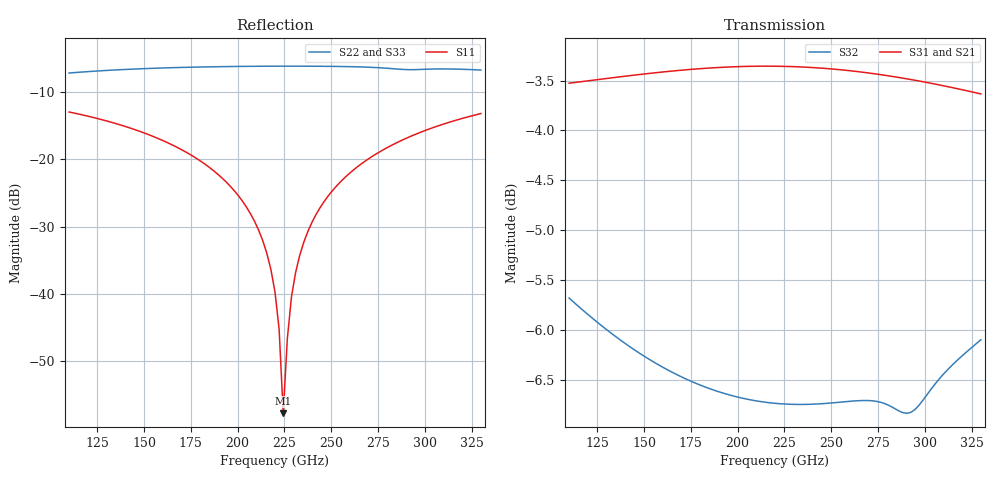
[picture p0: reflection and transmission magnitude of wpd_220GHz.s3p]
#  GHZ S DB R 50
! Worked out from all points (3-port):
!   101 points, 110 GHz to 330 GHz, reference 50 ohm
!   strongest paths, dB at 110 GHz, 165 GHz, 220 GHz, 275 GHz, 330 GHz:
!     S31: -3.5, -3.4, -3.4, -3.4, -3.6
!     S21: -3.5, -3.4, -3.4, -3.5, -3.7
!     S32: -5.7, -6.4, -6.7, -6.7, -6.1
!   lowest |S11| = -57.7 dB at 224.4 GHz (marker M1), VSWR 1.00, Z = 50.1 + j0.0355 ohm
!   |S11| at or under -10 dB: start of sweep to end of sweep
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110  -13.00 134.3  -3.53 -43.8  -3.53 -43.7
     -3.53 -43.8  -7.22 52.3  -5.68 -96.4
     -3.53 -43.7  -5.68 -96.4  -7.24 52.3
189.2  -22.18 100.9  -3.38 -76.6  -3.37 -76.6
       -3.38 -76.6  -6.29 9.3  -6.62 -155.1
       -3.37 -76.6  -6.62 -155.1  -6.32 9.4
209  -29.18 91.4  -3.37 -85.1  -3.36 -85.0
     -3.37 -85.1  -6.22 0.5  -6.71 -169.4
     -3.36 -85.0  -6.71 -169.4  -6.26 0.6
220  -39.71 81.9  -3.37 -89.7  -3.36 -89.7
     -3.37 -89.7  -6.21 -4.2  -6.74 -177.3
     -3.36 -89.7  -6.74 -177.3  -6.24 -4.2
222.2  -45.21 74.9  -3.37 -90.7  -3.36 -90.7
       -3.37 -90.7  -6.21 -5.2  -6.74 -178.9
       -3.36 -90.7  -6.74 -178.9  -6.24 -5.1
224.4  -57.69 15.7  -3.37 -91.6  -3.36 -91.6
       -3.37 -91.6  -6.20 -6.1  -6.74 179.5
       -3.36 -91.6  -6.74 179.5  -6.24 -6.1
226.6  -46.60 -78.7  -3.37 -92.6  -3.36 -92.5
       -3.37 -92.6  -6.20 -7.1  -6.74 177.9
       -3.36 -92.5  -6.74 177.9  -6.24 -7.0
231  -36.81 -90.9  -3.38 -94.5  -3.36 -94.4
     -3.38 -94.5  -6.20 -9.0  -6.75 174.7
     -3.36 -94.4  -6.75 174.7  -6.24 -8.9
244.2  -27.14 -99.8  -3.39 -100.1  -3.37 -100.1
       -3.39 -100.1  -6.22 -14.7  -6.74 165.1
       -3.37 -100.1  -6.74 165.1  -6.26 -14.6
330  -13.23 -136.8  -3.65 -136.3  -3.63 -136.3
     -3.65 -136.3  -6.78 -54.2  -6.10 103.1
     -3.63 -136.3  -6.10 103.1  -6.83 -54.2
